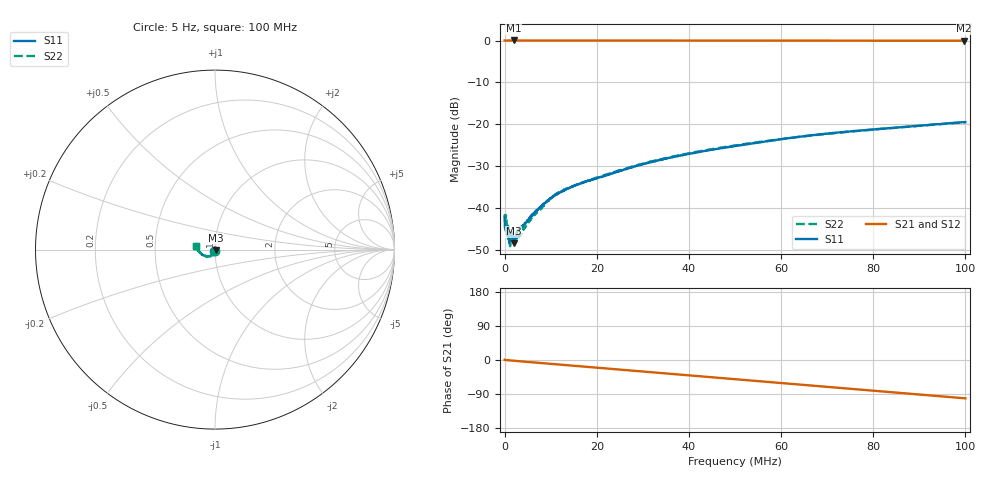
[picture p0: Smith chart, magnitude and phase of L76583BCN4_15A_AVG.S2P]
!Agilent Technologies,E5061B,MY49102235,A.02.00
!Date: Tue Jul 11 17:08:15 2023
!Data & Calibration Information:
!Freq	S11:SOLT2(ON)	S21:SOLT2(ON)	S12:SOLT2(ON)	S22:SOLT2(ON)
# Hz S RI R 50
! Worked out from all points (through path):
!   1600 points, 5 Hz to 100 MHz, reference 50 ohm
!   highest |S21| = 0.02 dB at 1.939 MHz (marker M1); lowest = 0.0 dB at 99.75 MHz (marker M2)
!   group delay of S21, straight-line fit = 2.81 ns
!   lowest |S11| = -48.5 dB at 1.939 MHz (marker M3), VSWR 1.01, Z = 50.3 - j0.218 ohm
!   |S11| at or under -10 dB: start of sweep to end of sweep
!   |S22| runs from -49.2 to -19.5 dB; largest |S21 - S12| = 0.0028
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5  -0.00524 -0.00564  1.002 0.00794  1.001 0.0103  -0.00146 -0.00755
437778.6  0.00516 -0.00055  1.001 -0.00548  1.001 -0.00604  0.00663 -0.00218
625395.8  0.0051 -0.000573  1.002 -0.0107  1.002 -0.01  0.00611 -0.00094
938091.3  0.00428 -0.000349  1.001 -0.0152  1.001 -0.0145  0.00585 -0.000918
1500943  0.00429 -0.00238  1.001 -0.0252  1.001 -0.0247  0.00296 -0.00356
1938717  0.00308 -0.00216  1.002 -0.034  1.001 -0.0331  0.00338 -0.0019
2376490  0.00326 -0.00279  0.9998 -0.0417  1 -0.0417  0.00391 -0.00245
3252037  0.00421 -0.00389  0.9995 -0.0573  0.9991 -0.0569  0.00312 -0.00341
6003757  0.00333 -0.00733  0.9954 -0.1058  0.9954 -0.1052  0.0029 -0.00718
9505946  0.00153 -0.0122  0.987 -0.1674  0.987 -0.1668  0.000954 -0.0122
1.156974e7  0.000109 -0.0149  0.9804 -0.2031  0.9799 -0.2026  -0.000769 -0.0151
1.669794e7  -0.00355 -0.0194  0.9573 -0.2909  0.9572 -0.2904  -0.00394 -0.0195
2.582865e7  -0.0103 -0.0265  0.8984 -0.4409  0.8981 -0.4405  -0.0083 -0.0278
3.333334e7  -0.0186 -0.032  0.8317 -0.5556  0.8316 -0.5551  -0.0173 -0.0331
4.033771e7  -0.0273 -0.0353  0.7565 -0.6537  0.7565 -0.6532  -0.0269 -0.0365
5.003127e7  -0.0405 -0.0368  0.6338 -0.7731  0.6337 -0.7725  -0.0407 -0.0378
6.672921e7  -0.0674 -0.0306  0.381 -0.9226  0.3813 -0.9224  -0.0666 -0.0307
7.53596e7  -0.0796 -0.0214  0.2365 -0.969  0.2368 -0.9687  -0.0788 -0.0223
8.33646e7  -0.089 -0.00957  0.0977 -0.9922  0.0978 -0.992  -0.0884 -0.0116
9.130707e7  -0.0974 0.00394  -0.0421 -0.9952  -0.0418 -0.9949  -0.0968 0.00105
9.974984e7  -0.104 0.02  -0.1892 -0.9769  -0.1888 -0.9769  -0.1036 0.017
1e8  -0.1041 0.0204  -0.1936 -0.9761  -0.1932 -0.9762  -0.104 0.0177
